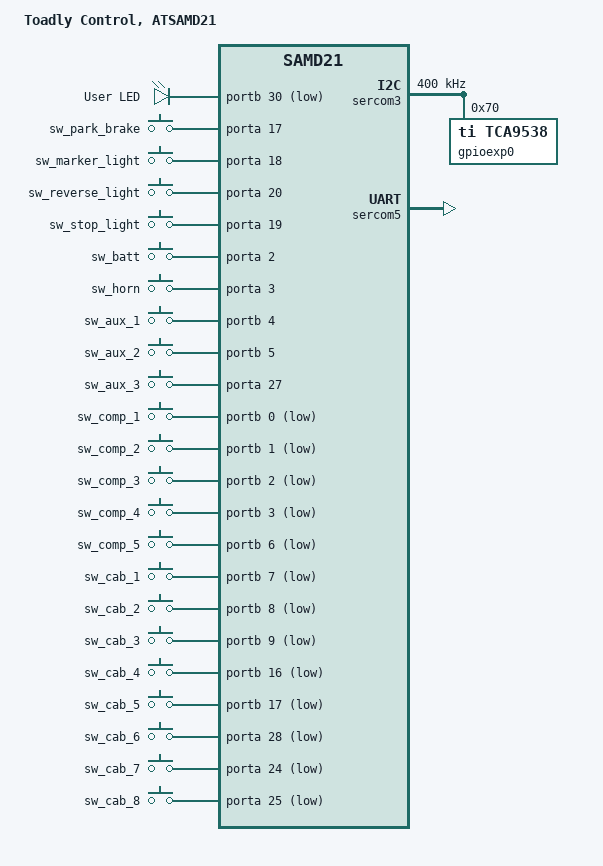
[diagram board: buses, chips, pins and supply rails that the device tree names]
/*
 * Copyright (c) 2024 Nick Elsmore
 *
 * SPDX-License-Identifier: Apache-2.0
 */

/dts-v1/;
#include <freq.h>
#include <atmel/samd21.dtsi>
#include <atmel/samx2xx18.dtsi>
#include "control-pinctrl.dtsi"
#include <zephyr/dt-bindings/input/input-event-codes.h>

/ {
	model = "Toadly Control, ATSAMD21";
	compatible = "vendor,control";

	chosen {
		zephyr,sram = &sram0;
		zephyr,flash = &flash0;
	};

	/* These aliases are provided for compatibility with samples */
	aliases {
		led0 = &led0;
		i2c-0 = &sercom3;
	};

	leds {
		compatible = "gpio-leds";
		led0: led_0 {
			gpios = <&portb 30 GPIO_ACTIVE_LOW>;
			label = "User LED";
		};
	};

	switches {
		/* inputs from sense circuits */
		compatible = "gpio-keys";
		sw_park_brake: sw_park_brake {
			gpios = <&porta 17 GPIO_ACTIVE_HIGH>;
		};

		sw_marker_light: sw_marker_light {
			gpios = <&porta 18 GPIO_ACTIVE_HIGH>;
		};

		sw_reverse_light: sw_reverse_light {
			gpios = <&porta 20 GPIO_ACTIVE_HIGH>;
		};

		sw_stop_light: sw_stop_light {
			gpios = <&porta 19 GPIO_ACTIVE_HIGH>;
		};

		sw_batt: sw_batt {
			gpios = <&porta 2 GPIO_ACTIVE_HIGH>;
		};

		sw_horn: sw_horn {
			gpios = <&porta 3 GPIO_ACTIVE_HIGH>;
		};

		sw_aux_1: sw_aux_1 {
			gpios = <&portb 4 GPIO_ACTIVE_HIGH>;
		};

		sw_aux_2: sw_aux_2 {
			gpios = <&portb 5 GPIO_ACTIVE_HIGH>;
		};

		sw_aux_3: sw_aux_3 {
			gpios = <&porta 27 GPIO_ACTIVE_HIGH>;
		};

		sw_comp_1: sw_comp_1 {
			gpios = <&portb 0 GPIO_ACTIVE_LOW>;
		};

		sw_comp_2: sw_comp_2 {
			gpios = <&portb 1 GPIO_ACTIVE_LOW>;
		};

		sw_comp_3: sw_comp_3 {
			gpios = <&portb 2 GPIO_ACTIVE_LOW>;
		};

		sw_comp_4: sw_comp_4 {
			gpios = <&portb 3 GPIO_ACTIVE_LOW>;
		};

		sw_comp_5: sw_comp_5 {
			gpios = <&portb 6 GPIO_ACTIVE_LOW>;
		};

		sw_cab_1: sw_cab_1 {
			gpios = <&portb 7 GPIO_ACTIVE_LOW>;
		};

		sw_cab_2: sw_cab_2 {
			gpios = <&portb 8 GPIO_ACTIVE_LOW>;
		};

		sw_cab_3: sw_cab_3 {
			gpios = <&portb 9 GPIO_ACTIVE_LOW>;
		};

		sw_cab_4: sw_cab_4 {
			gpios = <&portb 16 GPIO_ACTIVE_LOW>;
		};

		sw_cab_5: sw_cab_5 {
			gpios = <&portb 17 GPIO_ACTIVE_LOW>;
		};

		sw_cab_6: sw_cab_6 {
			gpios = <&porta 28 GPIO_ACTIVE_LOW>;
		};

		sw_cab_7: sw_cab_7 {
			gpios = <&porta 24 GPIO_ACTIVE_LOW>;
		};

		sw_cab_8: sw_cab_8 {
			gpios = <&porta 25 GPIO_ACTIVE_LOW>;
		};
	};

	load_drivers {
		compatible = "power-switch";
		ld_flood_d: ld_flood_d {
			gpios = <&porta 4 (GPIO_PUSH_PULL | GPIO_ACTIVE_HIGH)>;
		};

		ld_flood_r: ld_flood_r {
			gpios = <&porta 5 (GPIO_PUSH_PULL | GPIO_ACTIVE_HIGH)>;
		};

		ld_flood_p: ld_flood_p {
			gpios = <&porta 6 (GPIO_PUSH_PULL | GPIO_ACTIVE_HIGH)>;
		};

		ld_comp_lgt_1: ld_comp_lgt_1 {
			gpios = <&portb 15 (GPIO_PUSH_PULL | GPIO_ACTIVE_HIGH)>;
		};

		ld_comp_lgt_2: ld_comp_lgt_2 {
			gpios = <&porta 12 (GPIO_PUSH_PULL | GPIO_ACTIVE_HIGH)>;
		};

		ld_comp_lgt_3: ld_comp_lgt_3 {
			gpios = <&porta 13 (GPIO_PUSH_PULL | GPIO_ACTIVE_HIGH)>;
		};

		ld_comp_lgt_4: ld_comp_lgt_4 {
			gpios = <&porta 14 (GPIO_PUSH_PULL | GPIO_ACTIVE_HIGH)>;
		};

		ld_comp_lgt_5: ld_comp_lgt_5 {
			gpios = <&porta 15 (GPIO_PUSH_PULL | GPIO_ACTIVE_HIGH)>;
		};

		ld_marker_lgt: ld_marker_lgt {
			gpios = <&porta 10 (GPIO_PUSH_PULL | GPIO_ACTIVE_HIGH)>;
		};

		ld_backup_chime: ld_backup_chime {
			gpios = <&porta 11 (GPIO_PUSH_PULL | GPIO_ACTIVE_HIGH)>;
		};

		ld_fog_lgt: ld_fog_lgt {
			gpios = <&portb 10 (GPIO_PUSH_PULL | GPIO_ACTIVE_HIGH)>;
		};

		ld_isect_d: ld_isect_d {
			gpios = <&portb 11 (GPIO_PUSH_PULL | GPIO_ACTIVE_HIGH)>;
		};

		ld_isect_p: ld_isect_p {
			gpios = <&portb 12 (GPIO_PUSH_PULL | GPIO_ACTIVE_HIGH)>;
		};

		ld_aux_1: ld_aux_1 {
			gpios = <&porta 7 (GPIO_PUSH_PULL | GPIO_ACTIVE_HIGH)>;
		};

		ld_aux_2: ld_aux_2 {
			gpios = <&porta 8 (GPIO_PUSH_PULL | GPIO_ACTIVE_HIGH)>;
		};

		ld_aux_3: ld_aux_3 {
			gpios = <&porta 9 (GPIO_PUSH_PULL | GPIO_ACTIVE_HIGH)>;
		};

		ld_aux_4: ld_aux_4 {
			gpios = <&gpioexp0 0 (GPIO_PUSH_PULL | GPIO_ACTIVE_HIGH)>;
		};

		ld_aux_5: ld_aux_5 {
			gpios = <&gpioexp0 1 (GPIO_PUSH_PULL | GPIO_ACTIVE_HIGH)>;
		};

		ld_aux_6: ld_aux_6 {
			gpios = <&gpioexp0 2 (GPIO_PUSH_PULL | GPIO_ACTIVE_HIGH)>;
		};

		ld_aux_7: ld_aux_7 {
			gpios = <&portb 13 (GPIO_PUSH_PULL | GPIO_ACTIVE_HIGH)>;
		};

		ld_aux_8: ld_aux_8 {
			gpios = <&portb 14 (GPIO_PUSH_PULL | GPIO_ACTIVE_HIGH)>;
		};

		ld_aux_9: ld_aux_9 {
			gpios = <&gpioexp0 3 (GPIO_PUSH_PULL | GPIO_ACTIVE_HIGH)>;
		};

		ld_aux_10: ld_aux_10 {
			gpios = <&gpioexp0 4 (GPIO_PUSH_PULL | GPIO_ACTIVE_HIGH)>;
		};

		ld_aux_11: ld_aux_11 {
			gpios = <&gpioexp0 5 (GPIO_PUSH_PULL | GPIO_ACTIVE_HIGH)>;
		};

		ld_aux_12: ld_aux_12 {
			gpios = <&gpioexp0 6 (GPIO_PUSH_PULL | GPIO_ACTIVE_HIGH)>;
		};
	};
};

&cpu0 {
	clock-frequency = <DT_FREQ_M(48)>;
};

&sercom3 {
	status = "okay";
	compatible = "atmel,sam0-i2c";
	clock-frequency = <I2C_BITRATE_FAST>;
	#address-cells = <1>;
	#size-cells = <0>;

	pinctrl-0 = <&sercom3_i2c_default>;
	pinctrl-names = "default";

	gpioexp0: tca9538@70 {
		compatible = "ti,tca9538";
		reg = <0x70>;
		gpio-controller;
		#gpio-cells = <2>;
		ngpios = <8>;
	};
};

&sercom5 {
	status = "okay";
	compatible = "atmel,sam0-uart";
	rxpo = <3>;
	txpo = <2>;

	pinctrl-0 = <&sercom5_uart_default>;
	pinctrl-names = "default";
};
